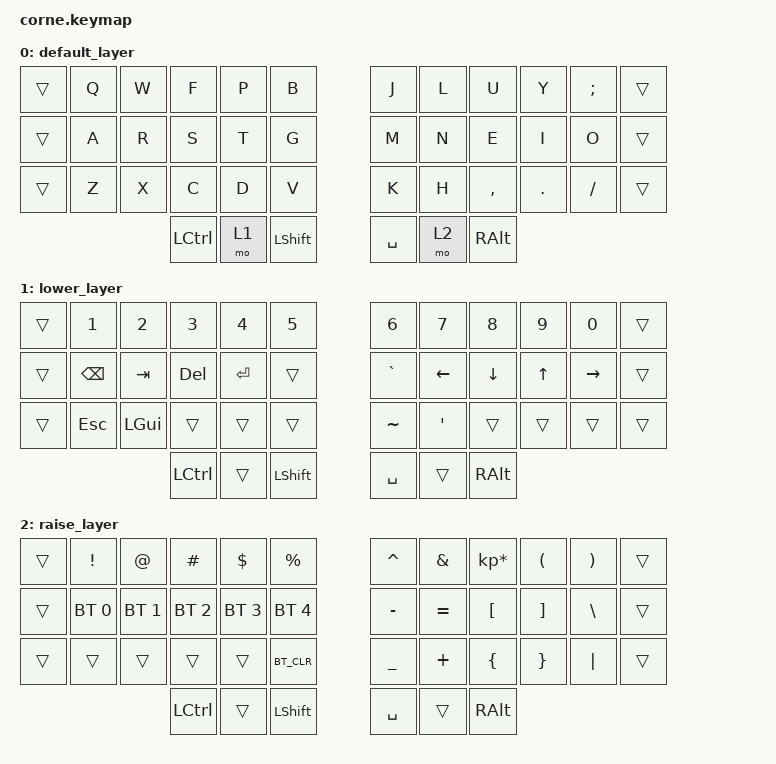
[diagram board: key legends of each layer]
/*
 * Copyright (c) 2020 The ZMK Contributors
 *
 * SPDX-License-Identifier: MIT
 */

#include <behaviors.dtsi>
#include <dt-bindings/zmk/keys.h>
#include <dt-bindings/zmk/bt.h>

/ {
        keymap {
                compatible = "zmk,keymap";

                default_layer {
// ------------------------------------------------------------------------------------------------------------------
// |       |  Q   |  W     |  F      |  P    |  B       |   |  J         |  L   |  U      |  Y     |  ;      |      |
// |       |  A   |  R     |  S      |  T    |  G       |   |  M         |  N   |  E      |  I     |  O      |      |
// |       |  Z   |  X     |  C      |  D    |  V       |   |  K         |  H   |  ,      |  .     |  /      |      |
//                         |  CTRL   | LWR   |  SHFT    |   | SPC        |  RSE |  ALT    |
                  bindings = <
   &trans   &kp Q  &kp W    &kp F     &kp P  &kp B           &kp J        &kp L  &kp U     &kp Y    &kp SEMI   &trans
   &trans   &kp A  &kp R    &kp S     &kp T  &kp G           &kp M        &kp N  &kp E     &kp I    &kp O      &trans
   &trans   &kp Z  &kp X    &kp C     &kp D  &kp V           &kp K        &kp H  &kp COMMA &kp DOT  &kp FSLH   &trans
                            &kp LCTRL &mo 1  &kp LSHFT       &kp SPACE    &mo 2  &kp RALT
                        >;
                };
                lower_layer {
// ----------------------------------------------------------------------------------------------------------------------------------------
// |          |  1         |  2        |  3        |  4         |  5        |   |  6      |  7      |  8      |  9      |  0       |      |
// |          |  BKSP      |  TAB      |  DEL      |  ENT       |           |   |  `      |  LFT    |  DWN    |  UP     |  RGT     |      |
// |          |  ESC       |  GUI      |           |            |           |   |  ~      |  '      |         |         |          |      |
//                                     |  CTRL     |            | SHFT      |   |  SPC    |         |  ALT    |
                        bindings = <
   &trans     &kp N1       &kp N2       &kp N3      &kp N4       &kp N5         &kp N6     &kp N7    &kp N8    &kp N9    &kp N0     &trans
   &trans     &kp BSPC     &kp TAB      &kp DEL     &kp RET      &trans         &kp GRAVE  &kp LEFT  &kp DOWN  &kp UP    &kp RIGHT  &trans
   &trans     &kp ESC      &kp LGUI     &trans      &trans       &trans         &kp TILDE  &kp SQT   &trans    &trans    &trans     &trans
                                        &kp LCTRL   &trans       &kp LSHFT      &kp SPACE  &trans    &kp RALT
                        >;
                };

                raise_layer {
// -----------------------------------------------------------------------------------------------------------------------------------------------
// |      |  !         |  @         |  #         |  $        |  %          |   |  ^       |  &       |  *             |  (      |  )      |      |
// |      |  BT1       |  BT2       |  BT3       |  BT4      |  BT5        |   |  -       |  =       |  [             |  ]      |  \      |      |
// |      |            |            |            |           |  BT_CLR     |   |  _       |  +       |  {             |  }      | "|"     |      |
//                                  |  CTRL      |           |  SHFT       |   |  SPC     |          |  ALT           |
                        bindings = <
   &trans &kp EXCL     &kp AT       &kp HASH     &kp DLLR     &kp PRCNT         &kp CARET  &kp AMPS   &kp KP_MULTIPLY  &kp LPAR  &kp RPAR  &trans
   &trans &bt BT_SEL 0 &bt BT_SEL 1 &bt BT_SEL 2 &bt BT_SEL 3 &bt BT_SEL 4      &kp MINUS  &kp EQUAL  &kp LBKT         &kp RBKT  &kp BSLH  &trans
   &trans &trans       &trans       &trans       &trans       &kp BT_CLR        &kp UNDER  &kp PLUS   &kp LBRC         &kp RBRC  &kp PIPE  &trans
                                    &kp LCTRL    &trans       &kp LSHFT         &kp SPACE  &trans     &kp RALT
                        >;
                };
        };
};
